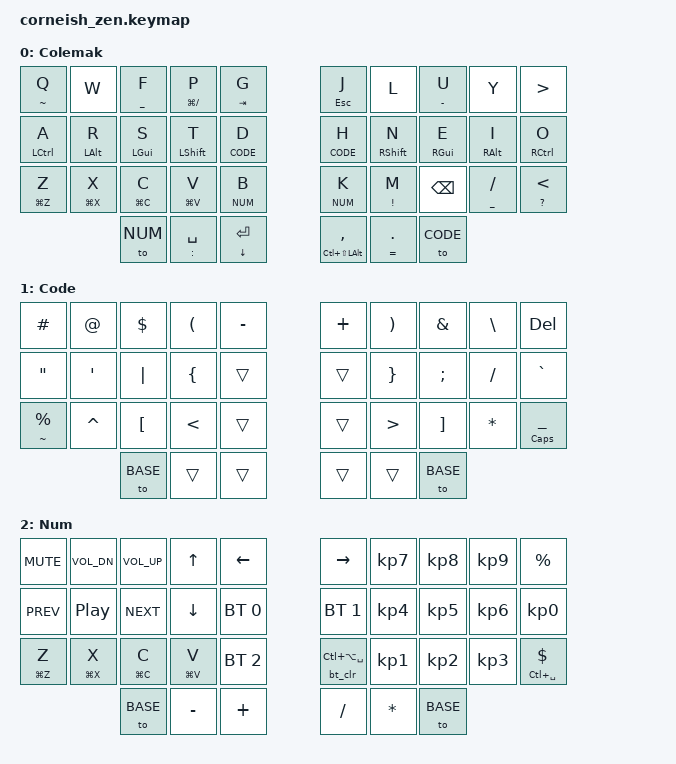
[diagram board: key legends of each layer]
#include <behaviors.dtsi>
#include <dt-bindings/zmk/keys.h>
#include <dt-bindings/zmk/bt.h>

// Sakura — Colemak port of qmk-config-piantor-sakura to the 36-key Corne-ish Zen.
//
// Layers
#define BASE 0
#define CODE 1
#define NUM  2

// MEH = Ctrl+Shift+Alt held (matches QMK MEH_T behavior).
#define MEH LC(LS(LALT))

// Key-position map (foostan_corne_5col_layout, 3x5 + 3):
//   0  1  2  3  4      5  6  7  8  9
//  10 11 12 13 14     15 16 17 18 19
//  20 21 22 23 24     25 26 27 28 29
//        30 31 32     33 34 35

/ {
    chosen {
        // 36-key build. (6-col left commented for reference.)
        zmk,physical-layout = &foostan_corne_5col_layout;
        // zmk,physical-layout = &foostan_corne_6col_layout;
    };

    behaviors {
        // tap = letter/symbol, hold = modifier or modified keycode.
        // tap-preferred + 275ms mirrors the QMK config's TAPPING_TERM=275,
        // which was set to stop accidental holds (e.g. "u" -> "-").
        // Used for home-row mods and every QMK tap-dance whose hold is a keypress.
        ht: hold_tap {
            compatible = "zmk,behavior-hold-tap";
            #binding-cells = <2>;
            flavor = "tap-preferred";
            tapping-term-ms = <275>;
            quick-tap-ms = <175>;
            bindings = <&kp>, <&kp>;
        };

        // Tap = language switch (Ctrl+Opt+Space); hold (400ms) = clear current BT profile.
        // 400ms makes the destructive clear deliberate; a normal tap is always the switch.
        // The hold side goes through the bt_clr macro because &bt needs two cells, which a
        // hold-tap can't pass directly. The leading "0" in &lang_btclr 0 LC(LA(SPACE)) is an
        // unused placeholder param for the macro side.
        lang_btclr: lang_btclr {
            compatible = "zmk,behavior-hold-tap";
            #binding-cells = <2>;
            flavor = "tap-preferred";
            tapping-term-ms = <400>;
            bindings = <&bt_clr>, <&kp>;
        };
    };

    macros {
        // Clear the currently-selected Bluetooth profile's pairing.
        bt_clr: bt_clr {
            compatible = "zmk,behavior-macro";
            #binding-cells = <0>;
            bindings = <&bt BT_CLR>;
        };
    };

    combos {
        compatible = "zmk,combos";

        // Both thumbs (NUM + CODE) -> language switch (Ctrl+Opt+Space, QMK was KC_LNG2).
        combo_lang {
            timeout-ms = <50>;
            key-positions = <30 35>;
            bindings = <&kp LC(LA(SPACE))>;
        };

        // Q + A + Z -> macOS swipe to previous desktop (Ctrl+Left).
        combo_swipe_left {
            timeout-ms = <50>;
            key-positions = <0 10 20>;
            bindings = <&kp LC(LEFT)>;
        };

        // > + O + < (right pinky column) -> swipe to next desktop (Ctrl+Right).
        combo_swipe_right {
            timeout-ms = <50>;
            key-positions = <9 19 29>;
            bindings = <&kp LC(RIGHT)>;
        };

        // Both thumbs + the "1" key (M / P1 / >) -> screenshot Shift+Cmd+1.
        combo_screenshot_1 {
            timeout-ms = <50>;
            key-positions = <30 35 26>;
            bindings = <&kp LS(LG(N1))>;
        };

        // Both thumbs + the "2" key (Bspc / P2 / ]) -> screenshot Shift+Cmd+2.
        combo_screenshot_2 {
            timeout-ms = <50>;
            key-positions = <30 35 27>;
            bindings = <&kp LS(LG(N2))>;
        };

        // Both thumbs + the "9" key (Y / P9 / \) -> screenshot Shift+Cmd+9.
        combo_screenshot_9 {
            timeout-ms = <50>;
            key-positions = <30 35 8>;
            bindings = <&kp LS(LG(N9))>;
        };
    };

    keymap {
        compatible = "zmk,keymap";

        // -----------------------------------------------------------------------------------
        // BASE (Colemak). Tap = letter; hold = mod / layer / symbol (see comments).
        // | Q~  W   F_  P⌘/ GTab |   | JEsc L   U-  Y   >    |
        // | A⌃  R⌥  S⌘  T⇧  Dcde |   | Hcde N⇧  E⌘  I⌥  O⌃   |
        // | Z⌘z X⌘x C⌘c V⌘v Bnum |   | Knum M!  Bsp /_  <?   |
        //            | NUM Spc: Ent↓ |   | ,Meh .= CODE |
        // -----------------------------------------------------------------------------------
        base_layer {
            display-name = "Colemak";
            bindings = <
&ht TILDE Q   &kp W         &ht UNDER F   &ht LG(SLASH) P  &ht TAB G        &ht ESC J     &kp L         &ht MINUS U    &kp Y          &kp GT
&ht LCTRL A   &ht LALT R    &ht LGUI S    &ht LSHFT T      &lt CODE D       &lt CODE H    &ht RSHFT N   &ht RGUI E     &ht RALT I     &ht RCTRL O
&ht LG(Z) Z   &ht LG(X) X   &ht LG(C) C   &ht LG(V) V      &lt NUM B        &lt NUM K     &ht EXCL M    &kp BSPC       &ht UNDER FSLH &ht QMARK LT
                                          &to NUM  &ht COLON SPACE  &ht DOWN RET    &ht MEH COMMA  &ht EQUAL DOT  &to CODE
            >;
        };

        // -----------------------------------------------------------------------------------
        // CODE — symbols & punctuation. Hold D or H, or tap the CODE thumb.
        // |  #   @   $   (   -  |   |  +   )   &   \  Del |
        // |  "   '   |   {      |   |      }   ;   /   `  |
        // | %~   ^   [   <      |   |      >   ]   *  _Cap|
        //            | BASE  -  - |   | -  -  BASE |
        // -----------------------------------------------------------------------------------
        code_layer {
            display-name = "Code";
            bindings = <
&kp HASH        &kp AT     &kp DLLR   &kp LPAR   &kp MINUS    &kp PLUS    &kp RPAR   &kp AMPS   &kp BSLH   &kp DEL
&kp DQT         &kp SQT    &kp PIPE   &kp LBRC   &trans       &trans      &kp RBRC   &kp SEMI   &kp FSLH   &kp GRAVE
&ht TILDE PRCNT &kp CARET  &kp LBKT   &kp LT     &trans       &trans      &kp GT     &kp RBKT   &kp ASTRK  &ht CAPS UNDER
                                      &to BASE   &trans       &trans      &trans     &trans     &to BASE
            >;
        };

        // -----------------------------------------------------------------------------------
        // NUM — numpad, media, nav + Bluetooth. Hold B or K, or tap the NUM thumb.
        // | Mut V- V+  ↑   ←   |   |  →   7   8   9   %  |
        // | Prv Pl Nx  ↓  BT0  |   | BT1  4   5   6   0  |
        // | ⌘z ⌘x ⌘c  ⌘v  BT2  |   | Lng  1   2   3  $⌃␣ |
        //            | BASE -  + |   | /  *  BASE |
        // BT0–BT2 = select Bluetooth profile 0–2
        // Lng = tap: language switch (Ctrl+Opt+Space) · hold 400ms: clear current BT pairing
        // -----------------------------------------------------------------------------------
        num_layer {
            display-name = "Num";
            bindings = <
&kp C_MUTE    &kp C_VOL_DN  &kp C_VOL_UP  &kp UP        &kp LEFT        &kp RIGHT       &kp KP_N7   &kp KP_N8   &kp KP_N9   &kp PRCNT
&kp C_PREV    &kp C_PP      &kp C_NEXT    &kp DOWN      &bt BT_SEL 0    &bt BT_SEL 1    &kp KP_N4   &kp KP_N5   &kp KP_N6   &kp KP_N0
&ht LG(Z) Z   &ht LG(X) X   &ht LG(C) C   &ht LG(V) V   &bt BT_SEL 2    &lang_btclr 0 LC(LA(SPACE))   &kp KP_N1   &kp KP_N2   &kp KP_N3   &ht LC(SPACE) DLLR
                                          &to BASE      &kp MINUS       &kp PLUS        &kp FSLH    &kp ASTRK   &to BASE
            >;
        };
    };
};

// Layer-taps: make hold-to-reach-layer comfortable (balanced) without a long wait,
// while keeping the 275ms term consistent with the home-row mods above.
&lt {
    flavor = "balanced";
    tapping-term-ms = <275>;
    quick-tap-ms = <175>;
};
